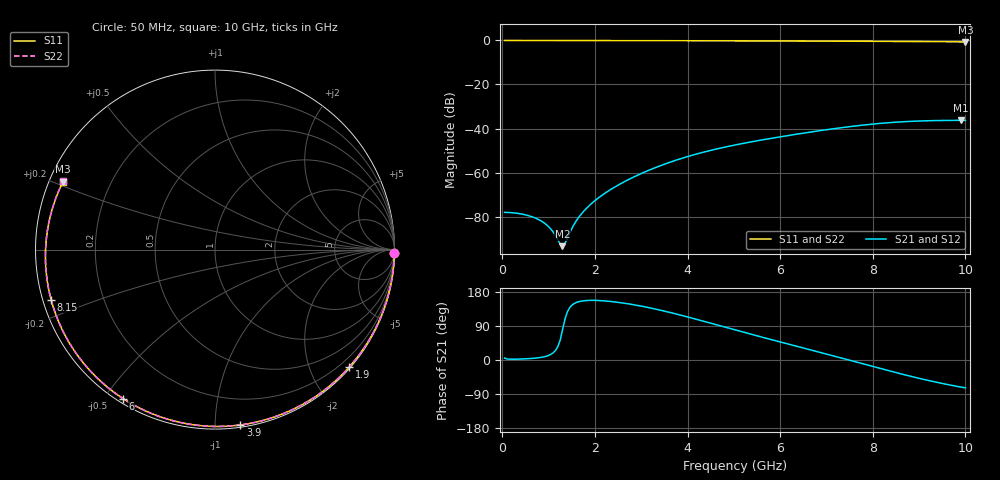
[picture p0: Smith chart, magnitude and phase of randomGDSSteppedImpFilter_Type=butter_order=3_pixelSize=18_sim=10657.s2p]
! freq	dB(S11)	phase(S11)	dB(S12)	phase(S12)
!  dB(S21)	phase(S21)	dB(S22)	phase(S22)
!S-par simulation data
#  GHz  S  DB  R 50
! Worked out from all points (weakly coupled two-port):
!   200 points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, 50 MHz to 10 GHz, reference 50 ohm
!   highest |S21| = -36.29 dB at 9.9 GHz (marker M1); lowest = -93.4 dB at 1.3 GHz (marker M2)
!   lowest |S11| = -0.7 dB at 10 GHz (marker M3), VSWR 26.67, Z = 1.96 + j10.7 ohm
!   |S11| at or under -10 dB: nowhere
!   |S22| runs from -0.7 to 0.0 dB; largest |S21 - S12| = 0
!   S11 on the Smith chart (normalised r, x): 50 MHz: open; 1.9 GHz: 0.02, -2.67; 3.9 GHz: 0.02, -1.16; 6 GHz: 0.02, -0.56; 8.15 GHz: 0.02, -0.15; 10 GHz: 0.04, +0.21
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0.05  -0.00 -1.1  -78.07 5.0  -78.07 5.0  -0.00 -1.1
0.35  -0.00 -7.7  -78.57 2.4  -78.57 2.4  -0.00 -7.7
0.65  -0.01 -14.3  -80.12 4.3  -80.12 4.3  -0.01 -14.3
1.3  -0.03 -28.4  -93.42 78.7  -93.42 78.7  -0.03 -28.4
1.65  -0.05 -35.8  -80.34 153.9  -80.34 153.9  -0.05 -35.9
1.75  -0.05 -38.0  -77.75 156.2  -77.75 156.2  -0.05 -38.0
1.9  -0.05 -41.1  -74.56 157.4  -74.56 157.4  -0.05 -41.1
2.2  -0.06 -47.4  -69.61 156.0  -69.61 156.0  -0.06 -47.4
2.55  -0.07 -54.7  -65.11 151.3  -65.11 151.3  -0.07 -54.7
2.95  -0.08 -62.8  -60.90 143.3  -60.90 143.3  -0.08 -62.9
3.4  -0.10 -71.9  -56.97 131.9  -56.97 131.9  -0.10 -71.9
3.9  -0.11 -81.8  -53.37 116.9  -53.37 116.9  -0.11 -81.8
4.45  -0.13 -92.4  -50.17 98.8  -50.17 98.8  -0.13 -92.5
5.05  -0.16 -103.8  -47.36 78.6  -47.36 78.6  -0.16 -103.9
6  -0.22 -121.7  -43.77 47.6  -43.77 47.6  -0.22 -121.7
6.7  -0.27 -134.8  -41.46 25.3  -41.46 25.3  -0.27 -134.9
7.45  -0.33 -149.2  -39.27 1.0  -39.27 1.0  -0.33 -149.2
8.15  -0.40 -163.0  -37.68 -22.0  -37.68 -22.0  -0.40 -163.1
8.35  -0.42 -167.1  -37.34 -28.4  -37.34 -28.4  -0.42 -167.2
9.15  -0.53 175.8  -36.48 -52.6  -36.48 -52.6  -0.53 175.7
9.9  -0.64 158.3  -36.29 -71.3  -36.29 -71.3  -0.64 158.2
10  -0.65 155.9  -36.29 -73.5  -36.29 -73.5  -0.65 155.8
